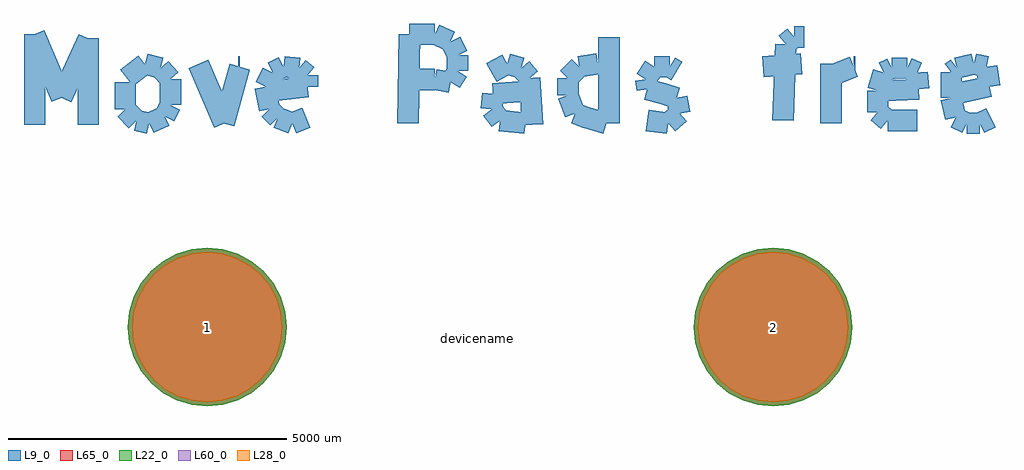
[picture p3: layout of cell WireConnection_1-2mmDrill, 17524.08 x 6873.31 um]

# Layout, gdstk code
import gdstk
lib = gdstk.Library(unit=1e-6, precision=1e-09)
def P(c, l, *ps):  # polygons
    for p in ps: c.add(gdstk.Polygon(p, *l))
L9_0 = (9, 0)
L22_0 = (22, 0)
L28_0 = (28, 0)
L60_0 = (60, 0)
L65_0 = (65, 0)

wireconnection_1_2mmdril = lib.new_cell('WireConnection_1-2mmDrill')
P(wireconnection_1_2mmdril, L22_0, [(11585.01,0),(11557.629,278.006),(11476.538,545.328),(11344.853,791.693),(11167.634,1007.634),(10951.693,1184.853),(10705.328,1316.538),(10438.006,1397.629),(10160,1425.01),(9881.994,1397.629),(9614.672,1316.538),(9368.307,1184.853),(9152.366,1007.634),(8975.147,791.693),(8843.462,545.328),(8762.371,278.006),(8734.99,0),(8762.371,-278.006),(8843.462,-545.328),(8975.147,-791.693),(9152.366,-1007.634),(9368.307,-1184.853),(9614.672,-1316.538),(9881.994,-1397.629),(10160,-1425.01),(10438.006,-1397.629),(10705.328,-1316.538),(10951.693,-1184.853),(11167.634,-1007.634),(11344.853,-791.693),(11476.538,-545.328),(11557.629,-278.006)],
  [(1425.01,0),(1397.629,278.006),(1316.538,545.328),(1184.853,791.693),(1007.634,1007.634),(791.693,1184.853),(545.328,1316.538),(278.006,1397.629),(0,1425.01),(-278.006,1397.629),(-545.328,1316.538),(-791.693,1184.853),(-1007.634,1007.634),(-1184.853,791.693),(-1316.538,545.328),(-1397.629,278.006),(-1425.01,0),(-1397.629,-278.006),(-1316.538,-545.328),(-1184.853,-791.693),(-1007.634,-1007.634),(-791.693,-1184.853),(-545.328,-1316.538),(-278.006,-1397.629),(0,-1425.01),(278.006,-1397.629),(545.328,-1316.538),(791.693,-1184.853),(1007.634,-1007.634),(1184.853,-791.693),(1316.538,-545.328),(1397.629,-278.006)])
P(wireconnection_1_2mmdril, L28_0, [(11510.01,0),(11484.07,263.374),(11407.247,516.626),(11282.492,750.025),(11114.601,954.601),(10910.025,1122.492),(10676.626,1247.247),(10423.374,1324.07),(10160,1350.01),(9896.626,1324.07),(9643.374,1247.247),(9409.975,1122.492),(9205.399,954.601),(9037.508,750.025),(8912.753,516.626),(8835.93,263.374),(8809.99,0),(8835.93,-263.374),(8912.753,-516.626),(9037.508,-750.025),(9205.399,-954.601),(9409.975,-1122.492),(9643.374,-1247.247),(9896.626,-1324.07),(10160,-1350.01),(10423.374,-1324.07),(10676.626,-1247.247),(10910.025,-1122.492),(11114.601,-954.601),(11282.492,-750.025),(11407.247,-516.626),(11484.07,-263.374)],
  [(1350.01,0),(1324.07,263.374),(1247.247,516.626),(1122.492,750.025),(954.601,954.601),(750.025,1122.492),(516.626,1247.247),(263.374,1324.07),(0,1350.01),(-263.374,1324.07),(-516.626,1247.247),(-750.025,1122.492),(-954.601,954.601),(-1122.492,750.025),(-1247.247,516.626),(-1324.07,263.374),(-1350.01,0),(-1324.07,-263.374),(-1247.247,-516.626),(-1122.492,-750.025),(-954.601,-954.601),(-750.025,-1122.492),(-516.626,-1247.247),(-263.374,-1324.07),(0,-1350.01),(263.374,-1324.07),(516.626,-1247.247),(750.025,-1122.492),(954.601,-954.601),(1122.492,-750.025),(1247.247,-516.626),(1324.07,-263.374)])
P(wireconnection_1_2mmdril, L60_0, [(11510.01,0),(11484.07,263.374),(11407.247,516.626),(11282.492,750.025),(11114.601,954.601),(10910.025,1122.492),(10676.626,1247.247),(10423.374,1324.07),(10160,1350.01),(9896.626,1324.07),(9643.374,1247.247),(9409.975,1122.492),(9205.399,954.601),(9037.508,750.025),(8912.753,516.626),(8835.93,263.374),(8809.99,0),(8835.93,-263.374),(8912.753,-516.626),(9037.508,-750.025),(9205.399,-954.601),(9409.975,-1122.492),(9643.374,-1247.247),(9896.626,-1324.07),(10160,-1350.01),(10423.374,-1324.07),(10676.626,-1247.247),(10910.025,-1122.492),(11114.601,-954.601),(11282.492,-750.025),(11407.247,-516.626),(11484.07,-263.374)],
  [(1350.01,0),(1324.07,263.374),(1247.247,516.626),(1122.492,750.025),(954.601,954.601),(750.025,1122.492),(516.626,1247.247),(263.374,1324.07),(0,1350.01),(-263.374,1324.07),(-516.626,1247.247),(-750.025,1122.492),(-954.601,954.601),(-1122.492,750.025),(-1247.247,516.626),(-1324.07,263.374),(-1350.01,0),(-1324.07,-263.374),(-1247.247,-516.626),(-1122.492,-750.025),(-954.601,-954.601),(-750.025,-1122.492),(-516.626,-1247.247),(-263.374,-1324.07),(0,-1350.01),(263.374,-1324.07),(516.626,-1247.247),(750.025,-1122.492),(954.601,-954.601),(1122.492,-750.025),(1247.247,-516.626),(1324.07,-263.374)])
P(wireconnection_1_2mmdril, L65_0, [(11585.01,0),(11557.629,278.006),(11476.538,545.328),(11344.853,791.693),(11167.634,1007.634),(10951.693,1184.853),(10705.328,1316.538),(10438.006,1397.629),(10160,1425.01),(9881.994,1397.629),(9614.672,1316.538),(9368.307,1184.853),(9152.366,1007.634),(8975.147,791.693),(8843.462,545.328),(8762.371,278.006),(8734.99,0),(8762.371,-278.006),(8843.462,-545.328),(8975.147,-791.693),(9152.366,-1007.634),(9368.307,-1184.853),(9614.672,-1316.538),(9881.994,-1397.629),(10160,-1425.01),(10438.006,-1397.629),(10705.328,-1316.538),(10951.693,-1184.853),(11167.634,-1007.634),(11344.853,-791.693),(11476.538,-545.328),(11557.629,-278.006)],
  [(1425.01,0),(1397.629,278.006),(1316.538,545.328),(1184.853,791.693),(1007.634,1007.634),(791.693,1184.853),(545.328,1316.538),(278.006,1397.629),(0,1425.01),(-278.006,1397.629),(-545.328,1316.538),(-791.693,1184.853),(-1007.634,1007.634),(-1184.853,791.693),(-1316.538,545.328),(-1397.629,278.006),(-1425.01,0),(-1397.629,-278.006),(-1316.538,-545.328),(-1184.853,-791.693),(-1007.634,-1007.634),(-791.693,-1184.853),(-545.328,-1316.538),(-278.006,-1397.629),(0,-1425.01),(278.006,-1397.629),(545.328,-1316.538),(791.693,-1184.853),(1007.634,-1007.634),(1184.853,-791.693),(1316.538,-545.328),(1397.629,-278.006)])
wireconnection_1_2mmdril.add(gdstk.FlexPath([(-2133.6,5181.6),(-2133.6,3632.2)], 380.998, ends="flush", simple_path=True, layer=9, datatype=0))  # L9_0
wireconnection_1_2mmdril.add(gdstk.FlexPath([(-2616.2,4114.8),(-2133.6,5181.6)], 380.998, ends="flush", simple_path=True, layer=9, datatype=0))  # L9_0
wireconnection_1_2mmdril.add(gdstk.FlexPath([(-3098.8,5257.8),(-2616.2,4114.8)], 380.998, ends="flush", simple_path=True, layer=9, datatype=0))  # L9_0
wireconnection_1_2mmdril.add(gdstk.FlexPath([(-3098.8,3632.2),(-3098.8,5257.8)], 380.998, ends="flush", simple_path=True, layer=9, datatype=0))  # L9_0
wireconnection_1_2mmdril.add(gdstk.FlexPath([(-1117.6,4724.4),(-1447.8,4470.4)], 380.998, ends="flush", simple_path=True, layer=9, datatype=0))  # L9_0
wireconnection_1_2mmdril.add(gdstk.FlexPath([(-838.2,4648.2),(-1117.6,4724.4)], 380.998, ends="flush", simple_path=True, layer=9, datatype=0))  # L9_0
wireconnection_1_2mmdril.add(gdstk.FlexPath([(-660.4,4445),(-838.2,4648.2)], 380.998, ends="flush", simple_path=True, layer=9, datatype=0))  # L9_0
wireconnection_1_2mmdril.add(gdstk.FlexPath([(-660.4,3987.8),(-660.4,4445)], 380.998, ends="flush", simple_path=True, layer=9, datatype=0))  # L9_0
wireconnection_1_2mmdril.add(gdstk.FlexPath([(-762,3784.6),(-660.4,3987.8)], 380.998, ends="flush", simple_path=True, layer=9, datatype=0))  # L9_0
wireconnection_1_2mmdril.add(gdstk.FlexPath([(-1041.4,3657.6),(-762,3784.6)], 380.998, ends="flush", simple_path=True, layer=9, datatype=0))  # L9_0
wireconnection_1_2mmdril.add(gdstk.FlexPath([(-1270,3708.4),(-1041.4,3657.6)], 380.998, ends="flush", simple_path=True, layer=9, datatype=0))  # L9_0
wireconnection_1_2mmdril.add(gdstk.FlexPath([(-1473.2,3911.6),(-1270,3708.4)], 380.998, ends="flush", simple_path=True, layer=9, datatype=0))  # L9_0
wireconnection_1_2mmdril.add(gdstk.FlexPath([(-1473.2,4394.2),(-1473.2,3911.6)], 380.998, ends="flush", simple_path=True, layer=9, datatype=0))  # L9_0
wireconnection_1_2mmdril.add(gdstk.FlexPath([(584.2,4673.6),(558.8,4673.6)], 380.998, ends="flush", simple_path=True, layer=9, datatype=0))  # L9_0
wireconnection_1_2mmdril.add(gdstk.FlexPath([(304.8,3657.6),(584.2,4673.6)], 380.998, ends="flush", simple_path=True, layer=9, datatype=0))  # L9_0
wireconnection_1_2mmdril.add(gdstk.FlexPath([(-152.4,4724.4),(304.8,3657.6)], 380.998, ends="flush", simple_path=True, layer=9, datatype=0))  # L9_0
wireconnection_1_2mmdril.add(gdstk.FlexPath([(1803.4,4318),(1168.4,4241.8)], 380.998, ends="flush", simple_path=True, layer=9, datatype=0))  # L9_0
wireconnection_1_2mmdril.add(gdstk.FlexPath([(1803.4,4521.2),(1803.4,4318)], 380.998, ends="flush", simple_path=True, layer=9, datatype=0))  # L9_0
wireconnection_1_2mmdril.add(gdstk.FlexPath([(1651,4648.2),(1803.4,4521.2)], 380.998, ends="flush", simple_path=True, layer=9, datatype=0))  # L9_0
wireconnection_1_2mmdril.add(gdstk.FlexPath([(1371.6,4673.6),(1651,4648.2)], 380.998, ends="flush", simple_path=True, layer=9, datatype=0))  # L9_0
wireconnection_1_2mmdril.add(gdstk.FlexPath([(1168.4,4572),(1371.6,4673.6)], 380.998, ends="flush", simple_path=True, layer=9, datatype=0))  # L9_0
wireconnection_1_2mmdril.add(gdstk.FlexPath([(1041.4,4318),(1168.4,4572)], 380.998, ends="flush", simple_path=True, layer=9, datatype=0))  # L9_0
wireconnection_1_2mmdril.add(gdstk.FlexPath([(1117.6,3911.6),(1041.4,4318)], 380.998, ends="flush", simple_path=True, layer=9, datatype=0))  # L9_0
wireconnection_1_2mmdril.add(gdstk.FlexPath([(1270,3759.2),(1117.6,3911.6)], 380.998, ends="flush", simple_path=True, layer=9, datatype=0))  # L9_0
wireconnection_1_2mmdril.add(gdstk.FlexPath([(1524,3657.6),(1270,3759.2)], 380.998, ends="flush", simple_path=True, layer=9, datatype=0))  # L9_0
wireconnection_1_2mmdril.add(gdstk.FlexPath([(1778,3759.2),(1524,3657.6)], 380.998, ends="flush", simple_path=True, layer=9, datatype=0))  # L9_0
wireconnection_1_2mmdril.add(gdstk.FlexPath([(4089.4,4445),(3632.2,4445)], 380.998, ends="flush", simple_path=True, layer=9, datatype=0))  # L9_0
wireconnection_1_2mmdril.add(gdstk.FlexPath([(4368.8,4394.2),(4089.4,4445)], 380.998, ends="flush", simple_path=True, layer=9, datatype=0))  # L9_0
wireconnection_1_2mmdril.add(gdstk.FlexPath([(4495.8,4597.4),(4368.8,4394.2)], 380.998, ends="flush", simple_path=True, layer=9, datatype=0))  # L9_0
wireconnection_1_2mmdril.add(gdstk.FlexPath([(4495.8,4876.8),(4495.8,4597.4)], 380.998, ends="flush", simple_path=True, layer=9, datatype=0))  # L9_0
wireconnection_1_2mmdril.add(gdstk.FlexPath([(4368.8,5130.8),(4495.8,4876.8)], 380.998, ends="flush", simple_path=True, layer=9, datatype=0))  # L9_0
wireconnection_1_2mmdril.add(gdstk.FlexPath([(4089.4,5257.8),(4368.8,5130.8)], 380.998, ends="flush", simple_path=True, layer=9, datatype=0))  # L9_0
wireconnection_1_2mmdril.add(gdstk.FlexPath([(3632.2,5257.8),(4089.4,5257.8)], 380.998, ends="flush", simple_path=True, layer=9, datatype=0))  # L9_0
wireconnection_1_2mmdril.add(gdstk.FlexPath([(3606.8,3657.6),(3632.2,5257.8)], 380.998, ends="flush", simple_path=True, layer=9, datatype=0))  # L9_0
wireconnection_1_2mmdril.add(gdstk.FlexPath([(5791.2,4470.4),(5842,3632.2)], 380.998, ends="flush", simple_path=True, layer=9, datatype=0))  # L9_0
wireconnection_1_2mmdril.add(gdstk.FlexPath([(5638.8,4648.2),(5791.2,4470.4)], 380.998, ends="flush", simple_path=True, layer=9, datatype=0))  # L9_0
wireconnection_1_2mmdril.add(gdstk.FlexPath([(5384.8,4724.4),(5638.8,4648.2)], 380.998, ends="flush", simple_path=True, layer=9, datatype=0))  # L9_0
wireconnection_1_2mmdril.add(gdstk.FlexPath([(5105.4,4572),(5384.8,4724.4)], 380.998, ends="flush", simple_path=True, layer=9, datatype=0))  # L9_0
wireconnection_1_2mmdril.add(gdstk.FlexPath([(5130.8,4191),(5842,4241.8)], 380.998, ends="flush", simple_path=True, layer=9, datatype=0))  # L9_0
wireconnection_1_2mmdril.add(gdstk.FlexPath([(5105.4,3911.6),(5130.8,4191)], 380.998, ends="flush", simple_path=True, layer=9, datatype=0))  # L9_0
wireconnection_1_2mmdril.add(gdstk.FlexPath([(5257.8,3708.4),(5105.4,3911.6)], 380.998, ends="flush", simple_path=True, layer=9, datatype=0))  # L9_0
wireconnection_1_2mmdril.add(gdstk.FlexPath([(5715,3657.6),(5257.8,3708.4)], 380.998, ends="flush", simple_path=True, layer=9, datatype=0))  # L9_0
wireconnection_1_2mmdril.add(gdstk.FlexPath([(7213.6,5207),(7213.6,3657.6)], 380.998, ends="flush", simple_path=True, layer=9, datatype=0))  # L9_0
wireconnection_1_2mmdril.add(gdstk.FlexPath([(6680.2,4673.6),(7010.4,4724.4)], 380.998, ends="flush", simple_path=True, layer=9, datatype=0))  # L9_0
wireconnection_1_2mmdril.add(gdstk.FlexPath([(6477,4470.4),(6680.2,4673.6)], 380.998, ends="flush", simple_path=True, layer=9, datatype=0))  # L9_0
wireconnection_1_2mmdril.add(gdstk.FlexPath([(6477,4165.6),(6477,4470.4)], 380.998, ends="flush", simple_path=True, layer=9, datatype=0))  # L9_0
wireconnection_1_2mmdril.add(gdstk.FlexPath([(6604,3835.4),(6477,4165.6)], 380.998, ends="flush", simple_path=True, layer=9, datatype=0))  # L9_0
wireconnection_1_2mmdril.add(gdstk.FlexPath([(6807.2,3759.2),(6604,3835.4)], 380.998, ends="flush", simple_path=True, layer=9, datatype=0))  # L9_0
wireconnection_1_2mmdril.add(gdstk.FlexPath([(7162.8,3657.6),(6807.2,3759.2)], 380.998, ends="flush", simple_path=True, layer=9, datatype=0))  # L9_0
wireconnection_1_2mmdril.add(gdstk.FlexPath([(8280.4,3657.6),(7899.4,3708.4)], 380.998, ends="flush", simple_path=True, layer=9, datatype=0))  # L9_0
wireconnection_1_2mmdril.add(gdstk.FlexPath([(8483.6,3835.4),(8280.4,3657.6)], 380.998, ends="flush", simple_path=True, layer=9, datatype=0))  # L9_0
wireconnection_1_2mmdril.add(gdstk.FlexPath([(8432.8,4114.8),(8483.6,3835.4)], 380.998, ends="flush", simple_path=True, layer=9, datatype=0))  # L9_0
wireconnection_1_2mmdril.add(gdstk.FlexPath([(8178.8,4191),(8432.8,4114.8)], 380.998, ends="flush", simple_path=True, layer=9, datatype=0))  # L9_0
wireconnection_1_2mmdril.add(gdstk.FlexPath([(7899.4,4267.2),(8178.8,4191)], 380.998, ends="flush", simple_path=True, layer=9, datatype=0))  # L9_0
wireconnection_1_2mmdril.add(gdstk.FlexPath([(7874,4445),(7899.4,4267.2)], 380.998, ends="flush", simple_path=True, layer=9, datatype=0))  # L9_0
wireconnection_1_2mmdril.add(gdstk.FlexPath([(8026.4,4673.6),(7874,4445)], 380.998, ends="flush", simple_path=True, layer=9, datatype=0))  # L9_0
wireconnection_1_2mmdril.add(gdstk.FlexPath([(8305.8,4673.6),(8026.4,4673.6)], 380.998, ends="flush", simple_path=True, layer=9, datatype=0))  # L9_0
wireconnection_1_2mmdril.add(gdstk.FlexPath([(8432.8,4597.4),(8305.8,4673.6)], 380.998, ends="flush", simple_path=True, layer=9, datatype=0))  # L9_0
wireconnection_1_2mmdril.add(gdstk.FlexPath([(10388.6,5080),(10337.8,3708.4)], 380.998, ends="flush", simple_path=True, layer=9, datatype=0))  # L9_0
wireconnection_1_2mmdril.add(gdstk.FlexPath([(10541,5207),(10388.6,5080)], 380.998, ends="flush", simple_path=True, layer=9, datatype=0))  # L9_0
wireconnection_1_2mmdril.add(gdstk.FlexPath([(10718.8,5207),(10541,5207)], 380.998, ends="flush", simple_path=True, layer=9, datatype=0))  # L9_0
wireconnection_1_2mmdril.add(gdstk.FlexPath([(9982.2,4673.6),(10668,4724.4)], 380.998, ends="flush", simple_path=True, layer=9, datatype=0))  # L9_0
wireconnection_1_2mmdril.add(gdstk.FlexPath([(11201.4,4724.4),(11201.4,3657.6)], 380.998, ends="flush", simple_path=True, layer=9, datatype=0))  # L9_0
wireconnection_1_2mmdril.add(gdstk.FlexPath([(11607.8,4673.6),(11633.2,4673.6)], 380.998, ends="flush", simple_path=True, layer=9, datatype=0))  # L9_0
wireconnection_1_2mmdril.add(gdstk.FlexPath([(11226.8,4521.2),(11607.8,4673.6)], 380.998, ends="flush", simple_path=True, layer=9, datatype=0))  # L9_0
wireconnection_1_2mmdril.add(gdstk.FlexPath([(12776.2,4267.2),(12141.2,4241.8)], 380.998, ends="flush", simple_path=True, layer=9, datatype=0))  # L9_0
wireconnection_1_2mmdril.add(gdstk.FlexPath([(12750.8,4572),(12776.2,4267.2)], 380.998, ends="flush", simple_path=True, layer=9, datatype=0))  # L9_0
wireconnection_1_2mmdril.add(gdstk.FlexPath([(12573,4648.2),(12750.8,4572)], 380.998, ends="flush", simple_path=True, layer=9, datatype=0))  # L9_0
wireconnection_1_2mmdril.add(gdstk.FlexPath([(12293.6,4648.2),(12573,4648.2)], 380.998, ends="flush", simple_path=True, layer=9, datatype=0))  # L9_0
wireconnection_1_2mmdril.add(gdstk.FlexPath([(12141.2,4572),(12293.6,4648.2)], 380.998, ends="flush", simple_path=True, layer=9, datatype=0))  # L9_0
wireconnection_1_2mmdril.add(gdstk.FlexPath([(12039.6,4241.8),(12141.2,4572)], 380.998, ends="flush", simple_path=True, layer=9, datatype=0))  # L9_0
wireconnection_1_2mmdril.add(gdstk.FlexPath([(12039.6,3860.8),(12039.6,4241.8)], 380.998, ends="flush", simple_path=True, layer=9, datatype=0))  # L9_0
wireconnection_1_2mmdril.add(gdstk.FlexPath([(12217.4,3708.4),(12039.6,3860.8)], 380.998, ends="flush", simple_path=True, layer=9, datatype=0))  # L9_0
wireconnection_1_2mmdril.add(gdstk.FlexPath([(12420.6,3708.4),(12217.4,3708.4)], 380.998, ends="flush", simple_path=True, layer=9, datatype=0))  # L9_0
wireconnection_1_2mmdril.add(gdstk.FlexPath([(12750.8,3708.4),(12420.6,3708.4)], 380.998, ends="flush", simple_path=True, layer=9, datatype=0))  # L9_0
wireconnection_1_2mmdril.add(gdstk.FlexPath([(13436.6,4191),(13436.6,4241.8)], 380.998, ends="flush", simple_path=True, layer=9, datatype=0))  # L9_0
wireconnection_1_2mmdril.add(gdstk.FlexPath([(14046.2,4318),(13436.6,4191)], 380.998, ends="flush", simple_path=True, layer=9, datatype=0))  # L9_0
wireconnection_1_2mmdril.add(gdstk.FlexPath([(13995.4,4673.6),(14046.2,4318)], 380.998, ends="flush", simple_path=True, layer=9, datatype=0))  # L9_0
wireconnection_1_2mmdril.add(gdstk.FlexPath([(13766.8,4724.4),(13995.4,4673.6)], 380.998, ends="flush", simple_path=True, layer=9, datatype=0))  # L9_0
wireconnection_1_2mmdril.add(gdstk.FlexPath([(13462,4648.2),(13766.8,4724.4)], 380.998, ends="flush", simple_path=True, layer=9, datatype=0))  # L9_0
wireconnection_1_2mmdril.add(gdstk.FlexPath([(13360.4,4572),(13462,4648.2)], 380.998, ends="flush", simple_path=True, layer=9, datatype=0))  # L9_0
wireconnection_1_2mmdril.add(gdstk.FlexPath([(13360.4,4114.8),(13360.4,4572)], 380.998, ends="flush", simple_path=True, layer=9, datatype=0))  # L9_0
wireconnection_1_2mmdril.add(gdstk.FlexPath([(13436.6,3759.2),(13360.4,4114.8)], 380.998, ends="flush", simple_path=True, layer=9, datatype=0))  # L9_0
wireconnection_1_2mmdril.add(gdstk.FlexPath([(13639.8,3657.6),(13436.6,3759.2)], 380.998, ends="flush", simple_path=True, layer=9, datatype=0))  # L9_0
wireconnection_1_2mmdril.add(gdstk.FlexPath([(13868.4,3657.6),(13639.8,3657.6)], 380.998, ends="flush", simple_path=True, layer=9, datatype=0))  # L9_0
wireconnection_1_2mmdril.add(gdstk.FlexPath([(14071.6,3759.2),(13868.4,3657.6)], 380.998, ends="flush", simple_path=True, layer=9, datatype=0))  # L9_0
wireconnection_1_2mmdril.add(gdstk.Label('2', (10160,0), layer=28, texttype=0))
wireconnection_1_2mmdril.add(gdstk.Label('1', (0,0), layer=28, texttype=0))
wireconnection_1_2mmdril.add(gdstk.Label('type', (5080,-3810), layer=9, texttype=0))
wireconnection_1_2mmdril.add(gdstk.Label('devicename', (4851.4,-203.2), layer=9, texttype=0))

lib.write_gds('WireConnection_1-2mmDrill.gds')
